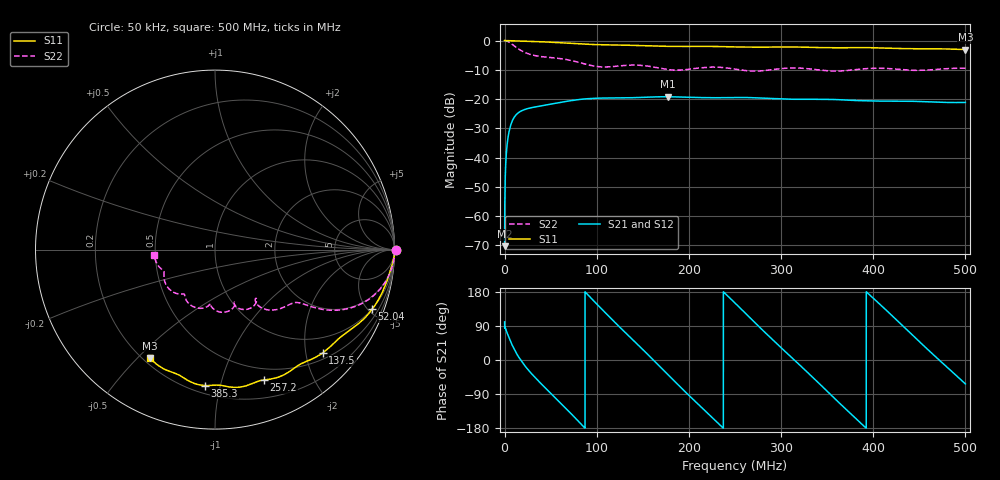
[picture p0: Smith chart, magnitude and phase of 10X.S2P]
!Keysight Technologies,E5063A,MY54100949,A.07.30
!Date: Fri Dec 26 02:42:20 2025
!Data & Calibration Information:
!Freq	S11:SOLT2(ON)	S21:SOLT2(ON)	S12:SOLT2(ON)	S22:SOLT2(ON)
# Hz S RI R 50
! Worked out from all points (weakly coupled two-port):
!   10001 points, 50 kHz to 500 MHz, reference 50 ohm
!   highest |S21| = -19.18 dB at 177.4 MHz (marker M1); lowest = -70.3 dB at 50 kHz (marker M2)
!   lowest |S11| = -3.1 dB at 500 MHz (marker M3), VSWR 5.74, Z = 11.4 - j27.2 ohm
!   |S11| at or under -10 dB: nowhere
!   |S22| runs from -10.4 to 0.1 dB; largest |S21 - S12| = 0.00029
!   S11 on the Smith chart (normalised r, x): 50 kHz: open; 52.04 MHz: 0.97, -5.28; 137.5 MHz: 0.63, -2.35; 257.2 MHz: 0.38, -1.38; 385.3 MHz: 0.25, -0.90; 500 MHz: 0.23, -0.54
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50000  1.006 0.000413  -5.67e-05 0.000301  0.000112 0.00036  1.007 -0.00213
2599745  1 -0.022  0.00467 0.0149  0.00464 0.015  0.9748 -0.1308
3249680  0.9993 -0.0274  0.00706 0.018  0.0071 0.018  0.9608 -0.1597
5449460  0.9963 -0.0456  0.0176 0.025  0.0176 0.0251  0.9008 -0.24
8799125  0.9904 -0.071  0.0353 0.0262  0.0354 0.0261  0.7952 -0.3109
2.30977e7  0.9611 -0.1667  0.0639 -0.0214  0.0639 -0.0215  0.5296 -0.3157
5.20448e7  0.8758 -0.3326  -0.00359 -0.0831  -0.00371 -0.083  0.4029 -0.3121
8.339166e7  0.7549 -0.4461  -0.0979 -0.0173  -0.0979 -0.0171  0.2575 -0.3236
1.129387e8  0.6702 -0.5143  -0.0453 0.0941  -0.0452 0.0942  0.2293 -0.2719
1.375362e8  0.6006 -0.5752  0.0575 0.0886  0.0576 0.0885  0.2116 -0.3175
1.667333e8  0.5106 -0.6223  0.1067 -0.0242  0.1067 -0.0243  0.1195 -0.3195
1.773823e8  0.4838 -0.634  0.0857 -0.0688  0.0857 -0.069  0.1066 -0.3012
2.074793e8  0.416 -0.6786  -0.0382 -0.0999  -0.0383 -0.0999  0.1055 -0.3185
2.50025e8  0.2913 -0.724  -0.0925 0.0526  -0.0925 0.0528  -0.0139 -0.3257
2.572243e8  0.2733 -0.726  -0.0729 0.0776  -0.0729 0.0778  -0.023 -0.3125
3.009199e8  0.1706 -0.7599  0.0868 0.051  0.0869 0.051  -0.0677 -0.3261
3.333667e8  0.0711 -0.7635  0.0723 -0.0682  0.0724 -0.0684  -0.158 -0.2854
3.574643e8  0.0155 -0.7547  -0.017 -0.097  -0.017 -0.0971  -0.1712 -0.2481
3.852615e8  -0.0559 -0.7572  -0.0903 -0.026  -0.0904 -0.026  -0.2134 -0.2451
4.167083e8  -0.1513 -0.7288  -0.0538 0.0753  -0.0538 0.0754  -0.279 -0.1812
4.621038e8  -0.2549 -0.6776  0.0834 0.0322  0.0835 0.0322  -0.296 -0.1106
5e8  -0.3616 -0.6034  0.0398 -0.0783  0.0397 -0.0784  -0.3371 -0.0304
